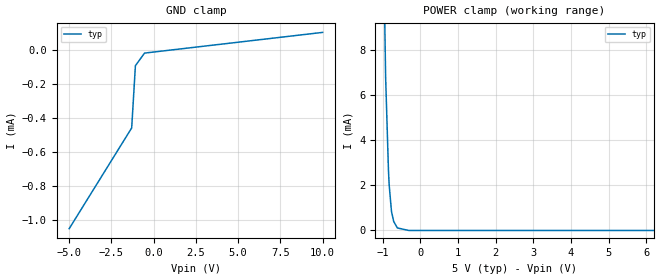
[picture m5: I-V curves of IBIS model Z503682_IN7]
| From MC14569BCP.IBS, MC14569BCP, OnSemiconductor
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| (C) COPYRIGHT 1993-2000
| MENTOR GRAPHICS CORPORATION
| ICX STANDARD LIBRARY, ICX PROJECT MODELING,
| ICX CUSTOM MODELING, ICX VENDOR MODEL
| ALL RIGHTS RESERVED.
| THE FOLLOWING ARE TRADEMARKS OR SERVICE MARKS OF
| MENTOR GRAPHICS CORPORATION:ICX (R), ICX STANDARD
| LIBRARY(R), ICX PROJECT MODELING(R), ICX CUSTOM
| MODELING(R), qualityIBIS(TM), MODELVIEWER(TM),
| AND MODELEDITOR(TM)
| ALL COPIES OF SOFTWARE, INCLUDING BUT NOT LIMITED TO
| ANY MODIFICATIONS, ENHANCEMENTS OR DERIVATIVE WORKS,
| MUST CONTAIN ALL MENTOR GRAPHICS CORPORATION'S
| NOTICES AND LEGENDS, INCLUDING THOSE EMBEDDED IN
| SOFTWARE AND THOSE AFFIXED TO SOFTWARE MEDIUM
| AND CONTAINER, AS RECEIVED FROM MENTOR GRAPHICS
| CORPORATION.
| Model Application Version 1.89 2/18/99.
[Model] Z503682_IN7
Model_type Input
Vinl = 1.500V
Vinh = 3.500V
C_comp 5.000pF NA NA
| variable typ   min   max
[Voltage Range] 5.000V NA NA
[GND Clamp Reference] 0.000V NA NA
[POWER Clamp Reference] 5.000V NA NA
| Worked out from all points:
|   POWER clamp passes 1 mA (typ) near -0.77 V on its own axis
[GND Clamp]
-5V       -1.05mA    NA         NA
-1.301V   -458.3uA   NA         NA
-1.081V   -92.59uA   NA         NA
-540.5mV  -18.68uA   NA         NA
10V       102.9uA    NA         NA
[POWER Clamp]
-5V       789.9mA    NA         NA
-1.2V     44.62mA    NA         NA
-1.045V   20.46mA    NA         NA
-918mV    6.804mA    NA         NA
-843mV    2.685mA    NA         NA
-824mV    2.02mA     NA         NA
-762mV    838.2uA    NA         NA
-704mV    398.2uA    NA         NA
-606mV    111.6uA    NA         NA
-303mV    0A         NA         NA
10V       0A         NA         NA
